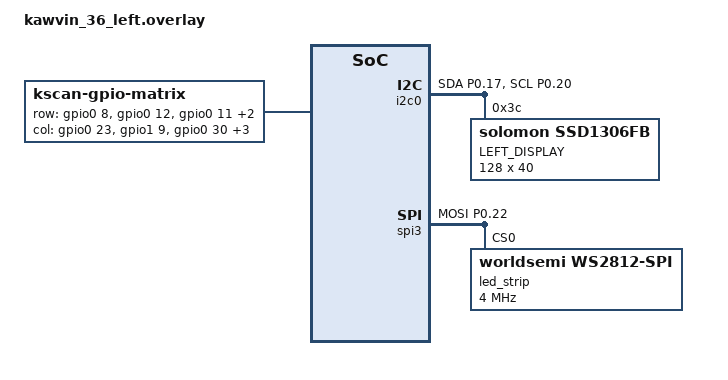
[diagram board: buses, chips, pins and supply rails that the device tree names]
/*
 * Copyright (c) 2023 The ZMK Contributors
 *
 * SPDX-License-Identifier: MIT
 */

#include "kawvin_36.dtsi"
#include <dt-bindings/led/led.h>

&pinctrl {
    i2c0_default: i2c0_default {
        group1 {
            psels = <NRF_PSEL(TWIM_SDA, 0, 17)>,
                    <NRF_PSEL(TWIM_SCL, 0, 20)>;
        };
    };

    i2c0_sleep: i2c0_sleep {
        group1 {
            psels = <NRF_PSEL(TWIM_SDA, 0, 17)>,
                    <NRF_PSEL(TWIM_SCL, 0, 20)>;
            low-power-enable;
        };
    };

    spi3_default: spi3_default {
        group1 {
            psels = <NRF_PSEL(SPIM_MOSI, 0, 22)>;
        };
    };

    spi3_sleep: spi3_sleep {
        group1 {
            psels = <NRF_PSEL(SPIM_MOSI, 0, 22)>;
            low-power-enable;
        };
    };
};

&i2c0 {
	status = "okay";
	//compatible = "nordic,nrf-twi";
	pinctrl-0 = <&i2c0_default>;
	pinctrl-1 = <&i2c0_sleep>;
	pinctrl-names = "default", "sleep";
    
	oled: ssd1306@3c {
        // OLED 0.42，使用以下
        width = <128>;  //72*40 
		height = <40>;  //72*40 
        compatible = "solomon,ssd1306fb";   //OLED 0.42
        segment-offset = <0>;   //OLED 0.42
        multiplex-ratio = <39>; //72*40  
        //com-sequential; //OLED 0.42注销本行
        
        // OLED 0.91或OLED 0.96，使用以下
        //width = <128>;
		//height = <64>;    //128*64
		//height = <32>;    //128*32
        //compatible = "solomon,ssd1306fb";   //OLED 0.91, OLED 0.96
        //segment-offset = <0>;   //OLED 0.91, OLED 0.96
        //multiplex-ratio = <31>; //128*32
        //multiplex-ratio = <63>; //128*64
        //com-sequential; //OLED 0.91或OLED 0.96 启用本行

        // OLED 1.30，使用以下
        //width = <128>;
		//height = <64>;
        //compatible = "sinowealth,sh1106";   //OLED 1.30
        //segment-offset = <2>;   //OLED 1.30
		//multiplex-ratio = <63>; //128*64
        //com-sequential; // OLED1.30注销本行

		reg = <0x3c>;
		label = "LEFT_DISPLAY";
		page-offset = <0>;
		display-offset = <0>;
		segment-remap;
		com-invdir;
        //inversion-on;   // 翻转颜色
		prechargep = <0x22>;
        
	};
};


&spi3 {
    compatible = "nordic,nrf-spim";
    status = "okay";

    pinctrl-0 = <&spi3_default>;
    pinctrl-1 = <&spi3_sleep>;
    pinctrl-names = "default", "sleep";

    led_strip: ws2812@0 {
        compatible = "worldsemi,ws2812-spi";

        /* SPI */
        reg = <0>; /* ignored, but necessary for SPI bindings */
        spi-max-frequency = <4000000>;

        /* WS2812 */
        chain-length = <1>; /* arbitrary; change at will */
        spi-one-frame = <0x70>;
        spi-zero-frame = <0x40>;
        color-mapping = <LED_COLOR_ID_GREEN LED_COLOR_ID_RED LED_COLOR_ID_BLUE>;
    };
};

/ {
    chosen {
        zmk,kscan = &kscan;
        zephyr,display = &oled;
        zmk,underglow = &led_strip;
    };

    kscan: kscan {
        compatible = "zmk,kscan-gpio-matrix";
        wakeup-source;

        diode-direction = "col2row";

        row-gpios
            = <&gpio0  8 (GPIO_PULL_DOWN | GPIO_ACTIVE_HIGH)>
            , <&gpio0 12 (GPIO_PULL_DOWN | GPIO_ACTIVE_HIGH)>
            , <&gpio0 11 (GPIO_PULL_DOWN | GPIO_ACTIVE_HIGH)>
            , <&gpio0  6 (GPIO_PULL_DOWN | GPIO_ACTIVE_HIGH)>
            , <&gpio0 19 (GPIO_PULL_DOWN | GPIO_ACTIVE_HIGH)>
            ;

        col-gpios
            = <&gpio0 23 GPIO_ACTIVE_HIGH>
            , <&gpio1  9 GPIO_ACTIVE_HIGH>
            , <&gpio0 30 GPIO_ACTIVE_HIGH>
            , <&gpio0 28 GPIO_ACTIVE_HIGH>
            , <&gpio0  3 GPIO_ACTIVE_HIGH>
            , <&gpio0 20 GPIO_ACTIVE_HIGH>
            ;
    };
};


